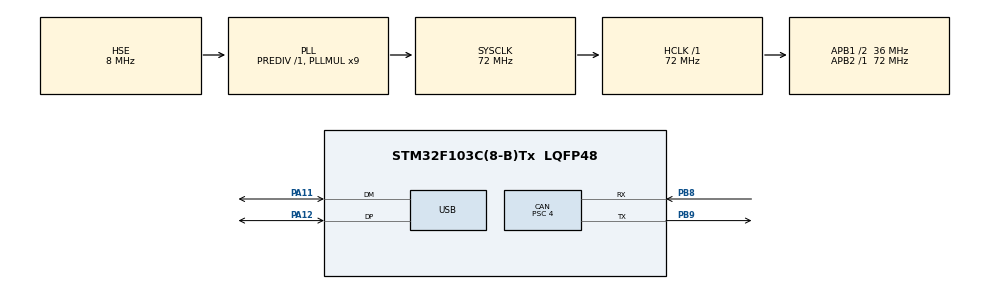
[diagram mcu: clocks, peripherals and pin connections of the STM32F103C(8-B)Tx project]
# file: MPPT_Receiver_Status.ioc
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CAN.BS1=CAN_BS1_15TQ
CAN.BS2=CAN_BS2_2TQ
CAN.CalculateBaudRate=500000
CAN.CalculateTimeBit=2000
CAN.CalculateTimeQuantum=111.11111111111111
CAN.Prescaler=4
Mcu.Family=STM32F1
Mcu.Name=STM32F103C(8-B)Tx
Mcu.Package=LQFP48
NVIC.PriorityGroup=NVIC_PRIORITYGROUP_4
NVIC.USB_LP_CAN1_RX0_IRQn=true\:0\:0\:false\:false\:true\:false\:true\:true
PA11.Mode=Device
PA11.Signal=USB_DM
PA12.Mode=Device
PA12.Signal=USB_DP
PB8.Mode=CAN_Activate
PB8.Signal=CAN_RX
PB9.Mode=CAN_Activate
PB9.Signal=CAN_TX
PD0-OSC_IN.Mode=HSE-External-Oscillator
PD0-OSC_IN.Signal=RCC_OSC_IN
PD1-OSC_OUT.Mode=HSE-External-Oscillator
PD1-OSC_OUT.Signal=RCC_OSC_OUT
ProjectManager.HeapSize=0x600
ProjectManager.StackSize=0x800
ProjectManager.TargetToolchain=STM32CubeIDE
RCC.AHBFreq_Value=72000000
RCC.APB1CLKDivider=RCC_HCLK_DIV2
RCC.APB1Freq_Value=36000000
RCC.APB1TimFreq_Value=72000000
RCC.APB2Freq_Value=72000000
RCC.APB2TimFreq_Value=72000000
RCC.HCLKFreq_Value=72000000
RCC.PLLMUL=RCC_PLL_MUL9
RCC.SYSCLKFreq_VALUE=72000000
RCC.SYSCLKSource=RCC_SYSCLKSOURCE_PLLCLK
RCC.USBFreq_Value=48000000
RCC.USBPrescaler=RCC_USBCLKSOURCE_PLL_DIV1_5
USB_DEVICE.CLASS_NAME_FS=CDC
USB_DEVICE.VirtualMode=Cdc
USB_DEVICE.VirtualModeFS=Cdc_FS
VP_SYS_VS_ND.Mode=No_Debug
VP_USB_DEVICE_VS_USB_DEVICE_CDC_FS.Mode=CDC_FS
board=custom

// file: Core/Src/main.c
/* USER CODE BEGIN Header */
/**
  ******************************************************************************
  * @file           : main.c
  * @brief          : Main program body
  ******************************************************************************
  * @attention
  *
  * Copyright (c) 2026 STMicroelectronics.
  * All rights reserved.
  *
  * This software is licensed under terms that can be found in the LICENSE file
  * in the root directory of this software component.
  * If no LICENSE file comes with this software, it is provided AS-IS.
  *
  ******************************************************************************
  */
/* USER CODE END Header */
#include "main.h"
#include "usb_device.h"

/* USER CODE BEGIN Includes */
#include "usbd_cdc_if.h"
#include <stdio.h>
/* USER CODE END Includes */

CAN_HandleTypeDef hcan;

void SystemClock_Config(void);
static void MX_GPIO_Init(void);
static void MX_CAN_Init(void);

int main(void)
{

  /* USER CODE BEGIN 1 */
	GPIO_InitTypeDef GPIO_InitStruct = {0};
	__HAL_RCC_GPIOA_CLK_ENABLE();
	GPIO_InitStruct.Pin = GPIO_PIN_12; // Pinul USB D+
	GPIO_InitStruct.Mode = GPIO_MODE_OUTPUT_PP;
	GPIO_InitStruct.Pull = GPIO_NOPULL;
	GPIO_InitStruct.Speed = GPIO_SPEED_FREQ_LOW;
	HAL_GPIO_Init(GPIOA, &GPIO_InitStruct);

	// Tragem pinul la masă (RESET) pentru 100ms
	HAL_GPIO_WritePin(GPIOA, GPIO_PIN_12, GPIO_PIN_RESET);
	HAL_Delay(100);

	// Îl lăsăm liber (va fi preluat de perifericul USB mai târziu)
	HAL_GPIO_DeInit(GPIOA, GPIO_PIN_12);
  /* USER CODE END 1 */

  /* MCU Configuration--------------------------------------------------------*/

  /* Reset of all peripherals, Initializes the Flash interface and the Systick. */
  HAL_Init();

  /* Configure the system clock */
  SystemClock_Config();

  /* Initialize all configured peripherals */
  MX_GPIO_Init();
  MX_CAN_Init();
  MX_USB_DEVICE_Init();
  /* USER CODE BEGIN 2 */
  CAN_FilterTypeDef sFilterConfig;

  sFilterConfig.FilterBank = 0;
  sFilterConfig.FilterMode = CAN_FILTERMODE_IDMASK;
  sFilterConfig.FilterScale = CAN_FILTERSCALE_32BIT;
  sFilterConfig.FilterIdHigh = 0x0000; // Acceptăm orice ID pentru inceput
  sFilterConfig.FilterIdLow = 0x0000;
  sFilterConfig.FilterMaskIdHigh = 0x0000;
  sFilterConfig.FilterMaskIdLow = 0x0000;
  sFilterConfig.FilterFIFOAssignment = CAN_RX_FIFO0;
  sFilterConfig.FilterActivation = ENABLE;

  if (HAL_CAN_ConfigFilter(&hcan, &sFilterConfig) != HAL_OK) {
      Error_Handler();
  }

  HAL_CAN_Start(&hcan); // Pornim perifericul CAN
  HAL_CAN_ActivateNotification(&hcan, CAN_IT_RX_FIFO0_MSG_PENDING); // Activăm intreruperea pentru mesaje noi
  /* USER CODE END 2 */

  /* Infinite loop */
  while (1)
  {

  }
}

void SystemClock_Config(void)
{
  RCC_OscInitTypeDef RCC_OscInitStruct = {0};
  RCC_ClkInitTypeDef RCC_ClkInitStruct = {0};
  RCC_PeriphCLKInitTypeDef PeriphClkInit = {0};

  /** Initializes the RCC Oscillators according to the specified parameters
  * in the RCC_OscInitTypeDef structure.
  */
  RCC_OscInitStruct.OscillatorType = RCC_OSCILLATORTYPE_HSE;
  RCC_OscInitStruct.HSEState = RCC_HSE_ON;
  RCC_OscInitStruct.HSEPredivValue = RCC_HSE_PREDIV_DIV1;
  RCC_OscInitStruct.HSIState = RCC_HSI_ON;
  RCC_OscInitStruct.PLL.PLLState = RCC_PLL_ON;
  RCC_OscInitStruct.PLL.PLLSource = RCC_PLLSOURCE_HSE;
  RCC_OscInitStruct.PLL.PLLMUL = RCC_PLL_MUL9;
  if (HAL_RCC_OscConfig(&RCC_OscInitStruct) != HAL_OK)
  {
    Error_Handler();
  }

  /** Initializes the CPU, AHB and APB buses clocks
  */
  RCC_ClkInitStruct.ClockType = RCC_CLOCKTYPE_HCLK|RCC_CLOCKTYPE_SYSCLK
                              |RCC_CLOCKTYPE_PCLK1|RCC_CLOCKTYPE_PCLK2;
  RCC_ClkInitStruct.SYSCLKSource = RCC_SYSCLKSOURCE_PLLCLK;
  RCC_ClkInitStruct.AHBCLKDivider = RCC_SYSCLK_DIV1;
  RCC_ClkInitStruct.APB1CLKDivider = RCC_HCLK_DIV2;
  RCC_ClkInitStruct.APB2CLKDivider = RCC_HCLK_DIV1;

  if (HAL_RCC_ClockConfig(&RCC_ClkInitStruct, FLASH_LATENCY_2) != HAL_OK)
  {
    Error_Handler();
  }
  PeriphClkInit.PeriphClockSelection = RCC_PERIPHCLK_USB;
  PeriphClkInit.UsbClockSelection = RCC_USBCLKSOURCE_PLL_DIV1_5;
  if (HAL_RCCEx_PeriphCLKConfig(&PeriphClkInit) != HAL_OK)
  {
    Error_Handler();
  }
}

static void MX_CAN_Init(void)
{

  hcan.Instance = CAN1;
  hcan.Init.Prescaler = 4;
  hcan.Init.Mode = CAN_MODE_NORMAL;
  hcan.Init.SyncJumpWidth = CAN_SJW_1TQ;
  hcan.Init.TimeSeg1 = CAN_BS1_15TQ;
  hcan.Init.TimeSeg2 = CAN_BS2_2TQ;
  hcan.Init.TimeTriggeredMode = DISABLE;
  hcan.Init.AutoBusOff = DISABLE;
  hcan.Init.AutoWakeUp = DISABLE;
  hcan.Init.AutoRetransmission = DISABLE;
  hcan.Init.ReceiveFifoLocked = DISABLE;
  hcan.Init.TransmitFifoPriority = DISABLE;
  if (HAL_CAN_Init(&hcan) != HAL_OK)
  {
    Error_Handler();
  }

}

static void MX_GPIO_Init(void)
{

  /* GPIO Ports Clock Enable */
  __HAL_RCC_GPIOD_CLK_ENABLE();
  __HAL_RCC_GPIOA_CLK_ENABLE();
  __HAL_RCC_GPIOB_CLK_ENABLE();

}

/* USER CODE BEGIN 4 */
void HAL_CAN_RxFifo0MsgPendingCallback(CAN_HandleTypeDef *hcan) {
    CAN_RxHeaderTypeDef RxHeader;
    uint8_t RxData[8];

    if (HAL_CAN_GetRxMessage(hcan, CAN_RX_FIFO0, &RxHeader, RxData) == HAL_OK) {
        if (RxHeader.StdId == 0x630) { // ID-ul mașinii tale

            float tensiune = (float)RxData[0];
            float curent   = (float)RxData[1] / 10.0f;
            float putere   = (float)RxData[2] * 2.0f;
            uint8_t status = RxData[3];

            // Rezolvăm warning-ul de spațiu: mărim la 512
            char text[512];
            int len = sprintf(text, "\033[2J\033[H==============================\r\n   TELEMETRIE MASINA SOLARA   \r\n==============================\r\nTENSIUNE PANOU: %.1f V\r\nCURENT PANOU:   %.2f A\r\nPUTERE TOTALA:  %.1f W\r\nSTATUS SISTEM:  %d (0=OK)\r\n==============================\r\n", tensiune, curent, putere, status);

            CDC_Transmit_FS((uint8_t*)text, (uint16_t)len);
        }
    }
}
/* USER CODE END 4 */

void Error_Handler(void)
{
  __disable_irq();
  while (1)
  {
  }
}
